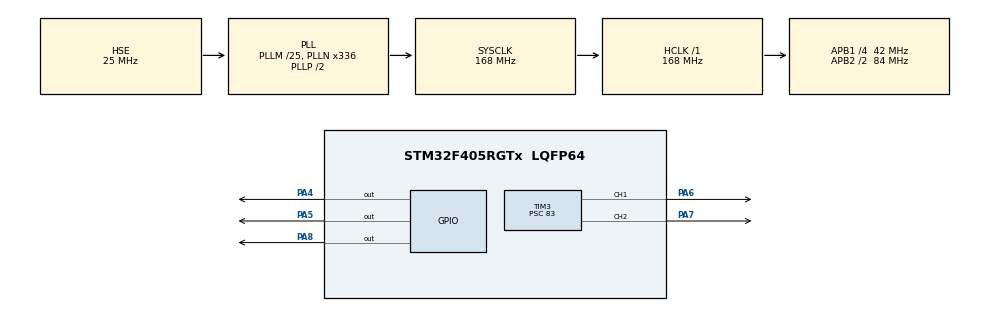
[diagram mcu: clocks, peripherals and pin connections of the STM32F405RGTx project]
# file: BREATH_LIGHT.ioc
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Mcu.Family=STM32F4
Mcu.Name=STM32F405RGTx
Mcu.Package=LQFP64
NVIC.PriorityGroup=NVIC_PRIORITYGROUP_4
NVIC.TIM1_UP_TIM10_IRQn=true\:0\:0\:false\:false\:true\:true\:true\:true
NVIC.TIM3_IRQn=true\:0\:0\:false\:false\:true\:true\:true\:true
PA13.Mode=Serial_Wire
PA13.Signal=SYS_JTMS-SWDIO
PA14.Mode=Serial_Wire
PA14.Signal=SYS_JTCK-SWCLK
PA4.Signal=GPIO_Output
PA5.Signal=GPIO_Output
PA6.Signal=S_TIM3_CH1
PA7.Signal=S_TIM3_CH2
PA8.Signal=GPIO_Output
PH0-OSC_IN.Mode=HSE-External-Oscillator
PH0-OSC_IN.Signal=RCC_OSC_IN
PH1-OSC_OUT.Mode=HSE-External-Oscillator
PH1-OSC_OUT.Signal=RCC_OSC_OUT
ProjectManager.HeapSize=0x200
ProjectManager.StackSize=0x400
ProjectManager.TargetToolchain=MDK-ARM V5.32
RCC.48MHZClocksFreq_Value=84000000
RCC.AHBFreq_Value=168000000
RCC.APB1CLKDivider=RCC_HCLK_DIV4
RCC.APB1Freq_Value=42000000
RCC.APB1TimFreq_Value=84000000
RCC.APB2CLKDivider=RCC_HCLK_DIV2
RCC.APB2Freq_Value=84000000
RCC.APB2TimFreq_Value=168000000
RCC.CortexFreq_Value=168000000
RCC.HCLKFreq_Value=168000000
RCC.HSE_VALUE=25000000
RCC.HSI_VALUE=16000000
RCC.LSE_VALUE=32768
RCC.PLLM=25
RCC.PLLN=336
RCC.PLLSourceVirtual=RCC_PLLSOURCE_HSE
RCC.SYSCLKFreq_VALUE=168000000
RCC.SYSCLKSource=RCC_SYSCLKSOURCE_PLLCLK
RCC.VCOOutputFreq_Value=336000000
SH.S_TIM3_CH1.0=TIM3_CH1,PWM Generation1 CH1
SH.S_TIM3_CH2.0=TIM3_CH2,PWM Generation2 CH2
TIM1.AutoReloadPreload=TIM_AUTORELOAD_PRELOAD_ENABLE
TIM1.Period=9999
TIM1.Prescaler=71
TIM3.AutoReloadPreload=TIM_AUTORELOAD_PRELOAD_ENABLE
TIM3.Channel-PWM\ Generation1\ CH1=TIM_CHANNEL_1
TIM3.Channel-PWM\ Generation2\ CH2=TIM_CHANNEL_2
TIM3.Period=999
TIM3.Prescaler=83
VP_TIM1_VS_ClockSourceINT.Mode=Internal
VP_TIM3_VS_ClockSourceINT.Mode=Internal
board=custom

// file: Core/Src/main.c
/* USER CODE BEGIN Header */
/**
  ******************************************************************************
  * @file           : main.c
  * @brief          : Main program body
  ******************************************************************************
  * @attention
  *
  * Copyright (c) 2025 STMicroelectronics.
  * All rights reserved.
  *
  * This software is licensed under terms that can be found in the LICENSE file
  * in the root directory of this software component.
  * If no LICENSE file comes with this software, it is provided AS-IS.
  *
  ******************************************************************************
  */
/* USER CODE END Header */
#include "main.h"
#include "tim.h"
#include "gpio.h"

/* USER CODE BEGIN Includes */
#include "EventRecorder.h"
#include "stdio.h"
#include "stm32f4xx_hal_tim.h"
/* USER CODE END Includes */

/* USER CODE BEGIN PD */
#if ENABLE_EVENTRECORDER
	EventRecorderInitialize(EventRecordAll,1U);
	EventRecorderStart();
#endif
/* USER CODE END PD */

void SystemClock_Config(void);

int main(void)
{

  /* USER CODE BEGIN 1 */
	EventRecorderInitialize(EventRecordAll,1U);
	EventRecorderStart();
  /* USER CODE END 1 */

  /* MCU Configuration--------------------------------------------------------*/

  /* Reset of all peripherals, Initializes the Flash interface and the Systick. */
  HAL_Init();

  /* Configure the system clock */
  SystemClock_Config();

  /* Initialize all configured peripherals */
  MX_GPIO_Init();
  MX_TIM3_Init();
  MX_TIM1_Init();
  /* USER CODE BEGIN 2 */
if (HAL_TIM_Base_Start_IT(&htim1)!=HAL_OK){
	Error_Handler();
if (HAL_TIM_Base_Start_IT(&htim3)!=HAL_OK){
	Error_Handler();
}

	HAL_TIM_PWM_Start(&htim3,TIM_CHANNEL_1);
	HAL_TIM_PWM_Start(&htim3,TIM_CHANNEL_2);
GPIO_InitTypeDef GPIO_InitStruct = {0};

// start GPIOA CLOCK
__HAL_RCC_GPIOA_CLK_ENABLE();

// PA4 PA5 peizhi
GPIO_InitStruct.Pin = GPIO_PIN_4 | GPIO_PIN_5;
GPIO_InitStruct.Mode = GPIO_MODE_OUTPUT_PP;
GPIO_InitStruct.Pull = GPIO_NOPULL;
GPIO_InitStruct.Speed = GPIO_SPEED_FREQ_LOW;
HAL_GPIO_Init(GPIOA, &GPIO_InitStruct);

// SET INITIAL STATUS
HAL_GPIO_WritePin(GPIOA, GPIO_PIN_4, GPIO_PIN_SET);  // LED4?
HAL_GPIO_WritePin(GPIOA, GPIO_PIN_5, GPIO_PIN_RESET); // LED5?
}
  /* USER CODE END 2 */

  /* Infinite loop */
  while (1)
  {
for (int i=0;i<1000;i+=20)
		{
			__HAL_TIM_SetCompare(&htim3,TIM_CHANNEL_1,i);
			__HAL_TIM_SetCompare(&htim3,TIM_CHANNEL_2,i);
			HAL_Delay(2);
		}
for(int i=1000;i>=0;i-=20)
		{
			__HAL_TIM_SetCompare(&htim3,TIM_CHANNEL_1,i);
			__HAL_TIM_SetCompare(&htim3,TIM_CHANNEL_2,i);
				HAL_Delay(2);
		}
  }
}

void SystemClock_Config(void)
{
  RCC_OscInitTypeDef RCC_OscInitStruct = {0};
  RCC_ClkInitTypeDef RCC_ClkInitStruct = {0};

  /** Configure the main internal regulator output voltage
  */
  __HAL_RCC_PWR_CLK_ENABLE();
  __HAL_PWR_VOLTAGESCALING_CONFIG(PWR_REGULATOR_VOLTAGE_SCALE1);

  /** Initializes the RCC Oscillators according to the specified parameters
  * in the RCC_OscInitTypeDef structure.
  */
  RCC_OscInitStruct.OscillatorType = RCC_OSCILLATORTYPE_HSE;
  RCC_OscInitStruct.HSEState = RCC_HSE_ON;
  RCC_OscInitStruct.PLL.PLLState = RCC_PLL_ON;
  RCC_OscInitStruct.PLL.PLLSource = RCC_PLLSOURCE_HSE;
  RCC_OscInitStruct.PLL.PLLM = 25;
  RCC_OscInitStruct.PLL.PLLN = 336;
  RCC_OscInitStruct.PLL.PLLP = RCC_PLLP_DIV2;
  RCC_OscInitStruct.PLL.PLLQ = 4;
  if (HAL_RCC_OscConfig(&RCC_OscInitStruct) != HAL_OK)
  {
    Error_Handler();
  }

  /** Initializes the CPU, AHB and APB buses clocks
  */
  RCC_ClkInitStruct.ClockType = RCC_CLOCKTYPE_HCLK|RCC_CLOCKTYPE_SYSCLK
                              |RCC_CLOCKTYPE_PCLK1|RCC_CLOCKTYPE_PCLK2;
  RCC_ClkInitStruct.SYSCLKSource = RCC_SYSCLKSOURCE_PLLCLK;
  RCC_ClkInitStruct.AHBCLKDivider = RCC_SYSCLK_DIV1;
  RCC_ClkInitStruct.APB1CLKDivider = RCC_HCLK_DIV4;
  RCC_ClkInitStruct.APB2CLKDivider = RCC_HCLK_DIV2;

  if (HAL_RCC_ClockConfig(&RCC_ClkInitStruct, FLASH_LATENCY_5) != HAL_OK)
  {
    Error_Handler();
  }
}

/* USER CODE BEGIN 4 */
void HAL_TIM_PeriodElapsedCallback(TIM_HandleTypeDef *htim)
{
  if (htim->Instance == TIM1)
  {
    static uint32_t tick_count = 0;
    static uint8_t led_state = 0;

    tick_count++;  //

    //
    if (tick_count % 40 == 0)  //
    {
      switch(led_state) {
        case 0:
          HAL_GPIO_WritePin(GPIOA, GPIO_PIN_4, GPIO_PIN_SET);
          HAL_GPIO_WritePin(GPIOA, GPIO_PIN_5, GPIO_PIN_RESET);
          led_state = 1;
          break;

        case 1:
          HAL_GPIO_WritePin(GPIOA, GPIO_PIN_4, GPIO_PIN_RESET);
          HAL_GPIO_WritePin(GPIOA, GPIO_PIN_5, GPIO_PIN_SET);
          led_state = 0;
          break;
      }
    }
    if (tick_count % 234 == 0)
    {
      printf("1s print: Hello World!\n");
    }
    if(tick_count > 1000000) tick_count = 0;
  }
}
/* USER CODE END 4 */

void Error_Handler(void)
{
  __disable_irq();
  while (1)
  {
  }
}
